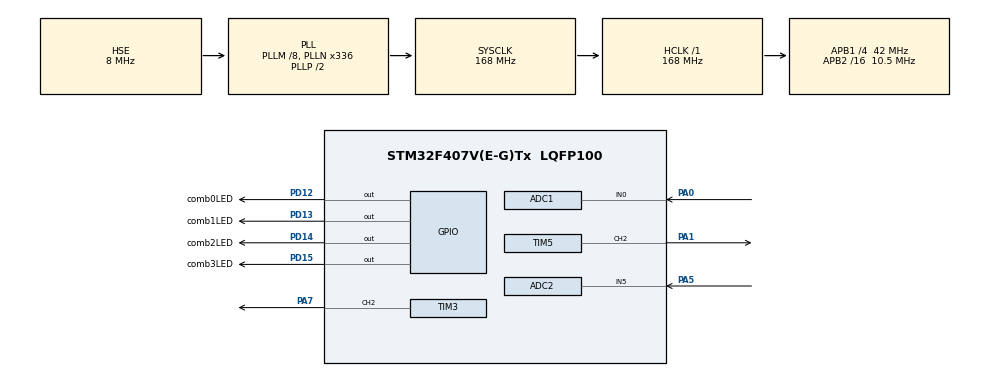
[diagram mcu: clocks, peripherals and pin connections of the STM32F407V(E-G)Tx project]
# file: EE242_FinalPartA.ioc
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ADC1.Channel-2\#ChannelRegularConversion=ADC_CHANNEL_0
ADC1.ClockPrescaler=ADC_CLOCK_SYNC_PCLK_DIV4
ADC1.ContinuousConvMode=ENABLE
ADC1.NbrOfConversionFlag=1
ADC1.Rank-2\#ChannelRegularConversion=1
ADC1.SamplingTime-2\#ChannelRegularConversion=ADC_SAMPLETIME_480CYCLES
ADC1.master=1
ADC2.Channel-2\#ChannelRegularConversion=ADC_CHANNEL_5
ADC2.ClockPrescaler=ADC_CLOCK_SYNC_PCLK_DIV4
ADC2.ContinuousConvMode=ENABLE
ADC2.NbrOfConversionFlag=1
ADC2.Rank-2\#ChannelRegularConversion=1
ADC2.SamplingTime-2\#ChannelRegularConversion=ADC_SAMPLETIME_480CYCLES
Mcu.Family=STM32F4
Mcu.Name=STM32F407V(E-G)Tx
Mcu.Package=LQFP100
NVIC.PriorityGroup=NVIC_PRIORITYGROUP_0
PA0-WKUP.Signal=ADCx_IN0
PA1.Signal=S_TIM5_CH2
PA5.Signal=ADCx_IN5
PA7.Signal=S_TIM3_CH2
PD12.GPIO_Label=comb0LED
PD12.Signal=GPIO_Output
PD13.GPIO_Label=comb1LED
PD13.Signal=GPIO_Output
PD14.GPIO_Label=comb2LED
PD14.Signal=GPIO_Output
PD15.GPIO_Label=comb3LED
PD15.Signal=GPIO_Output
ProjectManager.HeapSize=0x200
ProjectManager.StackSize=0x400
ProjectManager.TargetToolchain=STM32CubeIDE
RCC.48MHZClocksFreq_Value=48000000
RCC.AHBFreq_Value=168000000
RCC.APB1CLKDivider=RCC_HCLK_DIV4
RCC.APB1Freq_Value=42000000
RCC.APB1TimFreq_Value=84000000
RCC.APB2CLKDivider=RCC_HCLK_DIV16
RCC.APB2Freq_Value=10500000
RCC.APB2TimFreq_Value=21000000
RCC.CortexFreq_Value=168000000
RCC.HCLKFreq_Value=168000000
RCC.HSE_VALUE=8000000
RCC.HSI_VALUE=16000000
RCC.LSE_VALUE=32768
RCC.PLLM=8
RCC.PLLN=168
RCC.PLLQ=7
RCC.SYSCLKFreq_VALUE=168000000
RCC.SYSCLKSource=RCC_SYSCLKSOURCE_PLLCLK
RCC.VCOOutputFreq_Value=336000000
SH.ADCx_IN0.0=ADC1_IN0,IN0
SH.ADCx_IN5.0=ADC2_IN5,IN5
SH.S_TIM3_CH2.0=TIM3_CH2,PWM Generation2 CH2
SH.S_TIM5_CH2.0=TIM5_CH2,PWM Generation2 CH2
TIM3.AutoReloadPreload=TIM_AUTORELOAD_PRELOAD_ENABLE
TIM3.Channel-PWM\ Generation2\ CH2=TIM_CHANNEL_2
TIM3.Period=100-1
TIM3.Prescaler=1-1
TIM3.Pulse-PWM\ Generation2\ CH2=5-1
TIM5.AutoReloadPreload=TIM_AUTORELOAD_PRELOAD_ENABLE
TIM5.Channel-PWM\ Generation2\ CH2=TIM_CHANNEL_2
TIM5.Period=100-1
TIM5.Prescaler=1-1
TIM5.Pulse-PWM\ Generation2\ CH2=30-1
board=STM32F407G-DISC1

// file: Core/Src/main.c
/* USER CODE BEGIN Header */
/**
  ******************************************************************************
  * @file           : main.c
  * @brief          : Main program body
  ******************************************************************************
  * @attention
  *
  * Copyright (c) 2023 STMicroelectronics.
  * All rights reserved.
  *
  * This software is licensed under terms that can be found in the LICENSE file
  * in the root directory of this software component.
  * If no LICENSE file comes with this software, it is provided AS-IS.
  *
  ******************************************************************************
  */
/* USER CODE END Header */
#include "main.h"
#include "usb_device.h"
#include "usbd_cdc_if.h"
#include <stdbool.h>
#include <string.h>
#include <ctype.h>

/* USER CODE BEGIN PTD */

#define INPUT_COUNT 2
#define COMBINATION_COUNT 4
#define ADC_RESOLUTION_MAX_VALUE 4096.0
#define COMMAND_MAX_WORD_COUNT 20
#define COMMAND_OUTPUT_BUFFER_SIZE 100
#define GetArraySize(a) (sizeof(a) / sizeof(*a))

typedef struct InOutData
{
	int inputs[INPUT_COUNT];
	int output;
} InOutData;

typedef void(*CommandFunc)(char* commandOutputBuffer, char* words[COMMAND_MAX_WORD_COUNT]);
typedef struct Command
{
	const char* command;
	CommandFunc func;
} Command;

/* USER CODE END PTD */

ADC_HandleTypeDef hadc1;
ADC_HandleTypeDef hadc2;

TIM_HandleTypeDef htim3;
TIM_HandleTypeDef htim5;

/* USER CODE BEGIN PV */
double bias = 0.5;
double learningRate = 0.1;
bool trainingComplete = false;

InOutData combinations[COMBINATION_COUNT] =
{
	(InOutData){ .inputs = { 0, 0 }, .output = 0 }, //Green
	(InOutData){ .inputs = { 0, 1 }, .output = 0 }, //Orange
	(InOutData){ .inputs = { 1, 0 }, .output = 0 }, //Red
	(InOutData){ .inputs = { 1, 1 }, .output = 1 }, //Blue
};
/* USER CODE END PV */

void SystemClock_Config(void);
static void MX_GPIO_Init(void);
static void MX_ADC1_Init(void);
static void MX_TIM5_Init(void);
static void MX_TIM3_Init(void);
static void MX_ADC2_Init(void);

/* USER CODE BEGIN 0 */
double ReadADCValue(ADC_HandleTypeDef* adc)
{
	double adcReadingsBuffer[100] = { 0 };
	for (int i = 0; i < 100; i++)
	{
		if (HAL_ADC_PollForConversion(&hadc1, 10) == HAL_OK)
		{
			adcReadingsBuffer[i] = (double)HAL_ADC_GetValue(adc);
			HAL_ADC_Start(adc);
		}
	}

	double sum = 0;
	for (int i = 0; i < 100; i++)
	{
		sum += adcReadingsBuffer[i];
	}
	return sum / 100;
}

double weight1_FOR_MONITOR = 0;
double weight2_FOR_MONITOR = 0;
void UpdatePWMDutyCycle(TIM_HandleTypeDef* tim, double percent)
{
	tim->Instance->CCR2 = (uint32_t)(percent * tim->Instance->ARR);

	if (tim->Instance == htim3.Instance)
	{
		weight1_FOR_MONITOR = (double)(uint32_t)(percent * tim->Instance->ARR);
	}
	if (tim->Instance == htim5.Instance)
	{
		weight2_FOR_MONITOR = (double)(uint32_t)(percent * tim->Instance->ARR);
	}
}

double GetWeight(int index)
{
	return ReadADCValue(index == 0 ? &hadc1 : &hadc2) / ADC_RESOLUTION_MAX_VALUE;
}

void SetWeight(int index, double value)
{
	UpdatePWMDutyCycle(index == 0 ? &htim3 : &htim5, value);
}

int Decide(int* inputs)
{
	double sum = 0;
	for (int i = 0; i < INPUT_COUNT; i++)
	{
		sum += inputs[i] * GetWeight(i);
	}
	sum += bias;
	return sum >= 0 ? 1 : 0;
}

void TrainOnce(InOutData* combinations)
{
	for (int i = 0; i < COMBINATION_COUNT; i++)
	{
		int decision = Decide(combinations[i].inputs);
		double error = combinations[i].output - decision;
		bias += learningRate * error;
		HAL_Delay(1);
		SetWeight(0, GetWeight(0) + learningRate * error * combinations[i].inputs[0]);
		SetWeight(1, GetWeight(1) + learningRate * error * combinations[i].inputs[1]);
	}
}

//Returns the result of the decision
int UpdateLEDState(InOutData* combinations, int index, uint16_t pin)
{
	int result = Decide(combinations[index].inputs);
    HAL_GPIO_WritePin(GPIOD, pin, result == 1 ? GPIO_PIN_SET : GPIO_PIN_RESET);
    return result;
}

void GetWordsFromCommand(char* command, char* words[COMMAND_MAX_WORD_COUNT])
{
	char* word = strtok(command, " ");
	words[0] = word;
	int index = 1;
	while (word != NULL && index < COMMAND_MAX_WORD_COUNT - 1)
	{
        words[index++] = word = strtok(NULL, " ");
	}
}

void Retrain(char* commandOutputBuffer, char* words[COMMAND_MAX_WORD_COUNT])
{
	if (trainingComplete)
	{
		trainingComplete = false;
		snprintf(commandOutputBuffer, COMMAND_OUTPUT_BUFFER_SIZE, "Retraining.\n");
	}
	else
	{
		snprintf(commandOutputBuffer, COMMAND_OUTPUT_BUFFER_SIZE, "Previous training not complete.\n");
	}
}

void WeightCommand(int index, char* commandOutputBuffer, char* words[COMMAND_MAX_WORD_COUNT])
{
	if (strcmp(words[1], "get") && strcmp(words[1], "set"))
	{
		snprintf(commandOutputBuffer, COMMAND_OUTPUT_BUFFER_SIZE, "get or set is expected as the first argument.\n");
		return;
	}
	if (!strcmp(words[1], "set"))
	{
		SetWeight(index, atof(words[2]));
	}
	snprintf(commandOutputBuffer, COMMAND_OUTPUT_BUFFER_SIZE, "weight%d is %f.\n", index, GetWeight(index));
}

void Weight0Command(char* commandOutputBuffer, char* words[COMMAND_MAX_WORD_COUNT])
{
	WeightCommand(0, commandOutputBuffer, words);
}

void Weight1Command(char* commandOutputBuffer, char* words[COMMAND_MAX_WORD_COUNT])
{
	WeightCommand(1, commandOutputBuffer, words);
}

void BiasCommand(char* commandOutputBuffer, char* words[COMMAND_MAX_WORD_COUNT])
{
	if (strcmp(words[1], "get") && strcmp(words[1], "set"))
	{
		snprintf(commandOutputBuffer, COMMAND_OUTPUT_BUFFER_SIZE, "get or set is expected as the first argument.\n");
		return;
	}
	if (!strcmp(words[1], "set"))
	{
		bias = atof(words[2]);
	}
	snprintf(commandOutputBuffer, COMMAND_OUTPUT_BUFFER_SIZE, "bias is %f.\n", bias);
}

void LearningRateCommand(char* commandOutputBuffer, char* words[COMMAND_MAX_WORD_COUNT])
{
	if (strcmp(words[1], "get") && strcmp(words[1], "set"))
	{
		snprintf(commandOutputBuffer, COMMAND_OUTPUT_BUFFER_SIZE, "get or set is expected as the first argument.\n");
		return;
	}
	if (!strcmp(words[1], "set"))
	{
		learningRate = atof(words[2]);
	}
	snprintf(commandOutputBuffer, COMMAND_OUTPUT_BUFFER_SIZE, "learningRate is %f.\n", learningRate);
}

void InOutCommand(char* commandOutputBuffer, char* words[COMMAND_MAX_WORD_COUNT])
{
	if (strcmp(words[1], "get") && strcmp(words[1], "set"))
	{
		snprintf(commandOutputBuffer, COMMAND_OUTPUT_BUFFER_SIZE, "get or set is expected as the first argument.\n");
		return;
	}
	if (!strcmp(words[1], "set"))
	{
		combinations[0].output    = atoi(words[2]);
		combinations[1].output    = atoi(words[3]);
		combinations[2].output    = atoi(words[4]);
		combinations[3].output    = atoi(words[5]);
	}
	snprintf(commandOutputBuffer, COMMAND_OUTPUT_BUFFER_SIZE, "%d %d %d\n%d %d %d\n%d %d %d\n%d %d %d\n",
		    		combinations[0].inputs[0], combinations[0].inputs[1], combinations[0].output,
		    		combinations[1].inputs[0], combinations[1].inputs[1], combinations[1].output,
					combinations[2].inputs[0], combinations[2].inputs[1], combinations[2].output,
					combinations[3].inputs[0], combinations[3].inputs[1], combinations[3].output);
}

void ProcessUSBCommand(char* buffer, uint32_t length)
{
	//Be able to change weight1, weight2, bias, learning rate, inputs-outputs and restart training

	//retrain doesn't have any arguments. Other commands are used as follows
	//<command> get prints out the current value(s)
	//<command> set <value(s)> sets the value(s)
	Command commands[] =
	{
	    (Command) { .command = "retrain", .func = Retrain },
		(Command) { .command = "weight0", .func = Weight0Command },
		(Command) { .command = "weight1", .func = Weight1Command },
		(Command) { .command = "bias", .func = BiasCommand },
		(Command) { .command = "learningRate", .func = LearningRateCommand },
		(Command) { .command = "inout", .func = InOutCommand },
	};
	char transmitBuffer[COMMAND_OUTPUT_BUFFER_SIZE + 1] = { 0 };
	char* words[COMMAND_MAX_WORD_COUNT] = { 0 };
	char* tempBuffer = calloc(length + 1, sizeof(char));
	for (int i = 0; i < length; i++)
	{
		tempBuffer[i] = buffer[i];
	}
	memset(buffer, 0, length);
	GetWordsFromCommand(tempBuffer, words);
	int wordCount = 0;
	while (words[wordCount] != NULL)
	{
		wordCount++;
	}

	if (wordCount > 0)
	{
		int i = 0;
		for (; i < GetArraySize(commands); i++)
		{
			Command cmd = commands[i];
			if (!strcmp(words[0], cmd.command))
			{
				if (cmd.func == NULL)
				{
					snprintf(transmitBuffer, COMMAND_OUTPUT_BUFFER_SIZE, "No function defined to be executed for the command.\n");
					break;
				}
				cmd.func(transmitBuffer, words);
				break;
			}
		}
		if (i == GetArraySize(commands))
		{
			snprintf(transmitBuffer, COMMAND_OUTPUT_BUFFER_SIZE, "No matching command found. (given command: %s)\n", words[0]);
		}
	}
	else
	{
		snprintf(transmitBuffer, COMMAND_OUTPUT_BUFFER_SIZE, "No words found in given command.\n");
	}
	CDC_Transmit_FS((uint8_t*)transmitBuffer, strlen(transmitBuffer));
	free(tempBuffer);
}
/* USER CODE END 0 */

int main(void)
{
  /* USER CODE BEGIN 1 */
	/*
	TIM3 (PA7) should be connected to ADC1 (PA0)
	TIM5 (PA1) should be connected to ADC2 (PA5)
	*/
  /* USER CODE END 1 */

  /* MCU Configuration--------------------------------------------------------*/

  /* Reset of all peripherals, Initializes the Flash interface and the Systick. */
  HAL_Init();

  /* Configure the system clock */
  SystemClock_Config();

  /* Initialize all configured peripherals */
  MX_GPIO_Init();
  MX_ADC1_Init();
  MX_TIM5_Init();
  MX_TIM3_Init();
  MX_ADC2_Init();
  MX_USB_DEVICE_Init();
  /* USER CODE BEGIN 2 */

  HAL_TIM_PWM_Start(&htim3, TIM_CHANNEL_2);
  HAL_TIM_PWM_Start(&htim5, TIM_CHANNEL_2);
  HAL_ADC_Start(&hadc1);
  HAL_ADC_Start(&hadc2);

  /* USER CODE END 2 */

  /* Infinite loop */
  /* USER CODE BEGIN WHILE */
  //Assign random values for the duty cycles
  UpdatePWMDutyCycle(&htim3, 0.54);
  UpdatePWMDutyCycle(&htim5, 0.68);
  while (1)
  {
	  if (!trainingComplete)
	  {
		  TrainOnce(combinations);

		  /*
		  PIN12 -  Green  (comb0)
		  PIN13 - Orange  (comb1)
		  PIN14 -    Red  (comb2)
		  PIN15 -   Blue  (comb3)
		  */
		  int decision0 = UpdateLEDState(combinations, 0, comb0LED_Pin);
		  int decision1 = UpdateLEDState(combinations, 1, comb1LED_Pin);
		  int decision2 = UpdateLEDState(combinations, 2, comb2LED_Pin);
		  int decision3 = UpdateLEDState(combinations, 3, comb3LED_Pin);

		  if (decision0 == combinations[0].output &&
		      decision1 == combinations[1].output &&
		      decision2 == combinations[2].output &&
		      decision3 == combinations[3].output)
		  {
		      //Signal training complete
			  HAL_Delay(500);
			  for (int i = 0; i < 5; i++)
			  {
				  HAL_GPIO_WritePin(GPIOD, GPIO_PIN_12, i % 2);
				  HAL_GPIO_WritePin(GPIOD, GPIO_PIN_13, i % 2);
				  HAL_GPIO_WritePin(GPIOD, GPIO_PIN_14, i % 2);
				  HAL_GPIO_WritePin(GPIOD, GPIO_PIN_15, i % 2);
				  HAL_Delay(500);
			  }
			  //Show the results again
		  	  HAL_GPIO_WritePin(GPIOD, GPIO_PIN_12, decision0);
		  	  HAL_GPIO_WritePin(GPIOD, GPIO_PIN_13, decision1);
		  	  HAL_GPIO_WritePin(GPIOD, GPIO_PIN_14, decision2);
		  	  HAL_GPIO_WritePin(GPIOD, GPIO_PIN_15, decision3);
		      trainingComplete = true;
	      }
	  }

    /* USER CODE END WHILE */

  }
}

void SystemClock_Config(void)
{
  RCC_OscInitTypeDef RCC_OscInitStruct = {0};
  RCC_ClkInitTypeDef RCC_ClkInitStruct = {0};

  /** Configure the main internal regulator output voltage
  */
  __HAL_RCC_PWR_CLK_ENABLE();
  __HAL_PWR_VOLTAGESCALING_CONFIG(PWR_REGULATOR_VOLTAGE_SCALE1);

  /** Initializes the RCC Oscillators according to the specified parameters
  * in the RCC_OscInitTypeDef structure.
  */
  RCC_OscInitStruct.OscillatorType = RCC_OSCILLATORTYPE_HSE;
  RCC_OscInitStruct.HSEState = RCC_HSE_ON;
  RCC_OscInitStruct.PLL.PLLState = RCC_PLL_ON;
  RCC_OscInitStruct.PLL.PLLSource = RCC_PLLSOURCE_HSE;
  RCC_OscInitStruct.PLL.PLLM = 8;
  RCC_OscInitStruct.PLL.PLLN = 336;
  RCC_OscInitStruct.PLL.PLLP = RCC_PLLP_DIV2;
  RCC_OscInitStruct.PLL.PLLQ = 7;
  if (HAL_RCC_OscConfig(&RCC_OscInitStruct) != HAL_OK)
  {
    Error_Handler();
  }

  /** Initializes the CPU, AHB and APB buses clocks
  */
  RCC_ClkInitStruct.ClockType = RCC_CLOCKTYPE_HCLK|RCC_CLOCKTYPE_SYSCLK
                              |RCC_CLOCKTYPE_PCLK1|RCC_CLOCKTYPE_PCLK2;
  RCC_ClkInitStruct.SYSCLKSource = RCC_SYSCLKSOURCE_PLLCLK;
  RCC_ClkInitStruct.AHBCLKDivider = RCC_SYSCLK_DIV1;
  RCC_ClkInitStruct.APB1CLKDivider = RCC_HCLK_DIV4;
  RCC_ClkInitStruct.APB2CLKDivider = RCC_HCLK_DIV16;

  if (HAL_RCC_ClockConfig(&RCC_ClkInitStruct, FLASH_LATENCY_5) != HAL_OK)
  {
    Error_Handler();
  }
}

static void MX_ADC1_Init(void)
{

  ADC_ChannelConfTypeDef sConfig = {0};

  /** Configure the global features of the ADC (Clock, Resolution, Data Alignment and number of conversion)
  */
  hadc1.Instance = ADC1;
  hadc1.Init.ClockPrescaler = ADC_CLOCK_SYNC_PCLK_DIV4;
  hadc1.Init.Resolution = ADC_RESOLUTION_12B;
  hadc1.Init.ScanConvMode = DISABLE;
  hadc1.Init.ContinuousConvMode = ENABLE;
  hadc1.Init.DiscontinuousConvMode = DISABLE;
  hadc1.Init.ExternalTrigConvEdge = ADC_EXTERNALTRIGCONVEDGE_NONE;
  hadc1.Init.ExternalTrigConv = ADC_SOFTWARE_START;
  hadc1.Init.DataAlign = ADC_DATAALIGN_RIGHT;
  hadc1.Init.NbrOfConversion = 1;
  hadc1.Init.DMAContinuousRequests = DISABLE;
  hadc1.Init.EOCSelection = ADC_EOC_SINGLE_CONV;
  if (HAL_ADC_Init(&hadc1) != HAL_OK)
  {
    Error_Handler();
  }

  /** Configure for the selected ADC regular channel its corresponding rank in the sequencer and its sample time.
  */
  sConfig.Channel = ADC_CHANNEL_0;
  sConfig.Rank = 1;
  sConfig.SamplingTime = ADC_SAMPLETIME_480CYCLES;
  if (HAL_ADC_ConfigChannel(&hadc1, &sConfig) != HAL_OK)
  {
    Error_Handler();
  }

}

static void MX_ADC2_Init(void)
{

  ADC_ChannelConfTypeDef sConfig = {0};

  /** Configure the global features of the ADC (Clock, Resolution, Data Alignment and number of conversion)
  */
  hadc2.Instance = ADC2;
  hadc2.Init.ClockPrescaler = ADC_CLOCK_SYNC_PCLK_DIV4;
  hadc2.Init.Resolution = ADC_RESOLUTION_12B;
  hadc2.Init.ScanConvMode = DISABLE;
  hadc2.Init.ContinuousConvMode = ENABLE;
  hadc2.Init.DiscontinuousConvMode = DISABLE;
  hadc2.Init.ExternalTrigConvEdge = ADC_EXTERNALTRIGCONVEDGE_NONE;
  hadc2.Init.ExternalTrigConv = ADC_SOFTWARE_START;
  hadc2.Init.DataAlign = ADC_DATAALIGN_RIGHT;
  hadc2.Init.NbrOfConversion = 1;
  hadc2.Init.DMAContinuousRequests = DISABLE;
  hadc2.Init.EOCSelection = ADC_EOC_SINGLE_CONV;
  if (HAL_ADC_Init(&hadc2) != HAL_OK)
  {
    Error_Handler();
  }

  /** Configure for the selected ADC regular channel its corresponding rank in the sequencer and its sample time.
  */
  sConfig.Channel = ADC_CHANNEL_5;
  sConfig.Rank = 1;
  sConfig.SamplingTime = ADC_SAMPLETIME_480CYCLES;
  if (HAL_ADC_ConfigChannel(&hadc2, &sConfig) != HAL_OK)
  {
    Error_Handler();
  }

}

static void MX_TIM3_Init(void)
{

  TIM_MasterConfigTypeDef sMasterConfig = {0};
  TIM_OC_InitTypeDef sConfigOC = {0};

  htim3.Instance = TIM3;
  htim3.Init.Prescaler = 1-1;
  htim3.Init.CounterMode = TIM_COUNTERMODE_UP;
  htim3.Init.Period = 100-1;
  htim3.Init.ClockDivision = TIM_CLOCKDIVISION_DIV1;
  htim3.Init.AutoReloadPreload = TIM_AUTORELOAD_PRELOAD_ENABLE;
  if (HAL_TIM_PWM_Init(&htim3) != HAL_OK)
  {
    Error_Handler();
  }
  sMasterConfig.MasterOutputTrigger = TIM_TRGO_RESET;
  sMasterConfig.MasterSlaveMode = TIM_MASTERSLAVEMODE_DISABLE;
  if (HAL_TIMEx_MasterConfigSynchronization(&htim3, &sMasterConfig) != HAL_OK)
  {
    Error_Handler();
  }
  sConfigOC.OCMode = TIM_OCMODE_PWM1;
  sConfigOC.Pulse = 5-1;
  sConfigOC.OCPolarity = TIM_OCPOLARITY_HIGH;
  sConfigOC.OCFastMode = TIM_OCFAST_DISABLE;
  if (HAL_TIM_PWM_ConfigChannel(&htim3, &sConfigOC, TIM_CHANNEL_2) != HAL_OK)
  {
    Error_Handler();
  }
  HAL_TIM_MspPostInit(&htim3);

}

static void MX_TIM5_Init(void)
{

  TIM_MasterConfigTypeDef sMasterConfig = {0};
  TIM_OC_InitTypeDef sConfigOC = {0};

  htim5.Instance = TIM5;
  htim5.Init.Prescaler = 1-1;
  htim5.Init.CounterMode = TIM_COUNTERMODE_UP;
  htim5.Init.Period = 100-1;
  htim5.Init.ClockDivision = TIM_CLOCKDIVISION_DIV1;
  htim5.Init.AutoReloadPreload = TIM_AUTORELOAD_PRELOAD_ENABLE;
  if (HAL_TIM_PWM_Init(&htim5) != HAL_OK)
  {
    Error_Handler();
  }
  sMasterConfig.MasterOutputTrigger = TIM_TRGO_RESET;
  sMasterConfig.MasterSlaveMode = TIM_MASTERSLAVEMODE_DISABLE;
  if (HAL_TIMEx_MasterConfigSynchronization(&htim5, &sMasterConfig) != HAL_OK)
  {
    Error_Handler();
  }
  sConfigOC.OCMode = TIM_OCMODE_PWM1;
  sConfigOC.Pulse = 30-1;
  sConfigOC.OCPolarity = TIM_OCPOLARITY_HIGH;
  sConfigOC.OCFastMode = TIM_OCFAST_DISABLE;
  if (HAL_TIM_PWM_ConfigChannel(&htim5, &sConfigOC, TIM_CHANNEL_2) != HAL_OK)
  {
    Error_Handler();
  }
  HAL_TIM_MspPostInit(&htim5);

}

static void MX_GPIO_Init(void)
{
  GPIO_InitTypeDef GPIO_InitStruct = {0};

  /* GPIO Ports Clock Enable */
  __HAL_RCC_GPIOH_CLK_ENABLE();
  __HAL_RCC_GPIOA_CLK_ENABLE();
  __HAL_RCC_GPIOD_CLK_ENABLE();

  /*Configure GPIO pin Output Level */
  HAL_GPIO_WritePin(GPIOD, comb0LED_Pin|comb1LED_Pin|comb2LED_Pin|comb3LED_Pin, GPIO_PIN_RESET);

  /*Configure GPIO pins : comb0LED_Pin comb1LED_Pin comb2LED_Pin comb3LED_Pin */
  GPIO_InitStruct.Pin = comb0LED_Pin|comb1LED_Pin|comb2LED_Pin|comb3LED_Pin;
  GPIO_InitStruct.Mode = GPIO_MODE_OUTPUT_PP;
  GPIO_InitStruct.Pull = GPIO_NOPULL;
  GPIO_InitStruct.Speed = GPIO_SPEED_FREQ_LOW;
  HAL_GPIO_Init(GPIOD, &GPIO_InitStruct);

}

void Error_Handler(void)
{
  __disable_irq();
  while (1)
  {
  }
}
